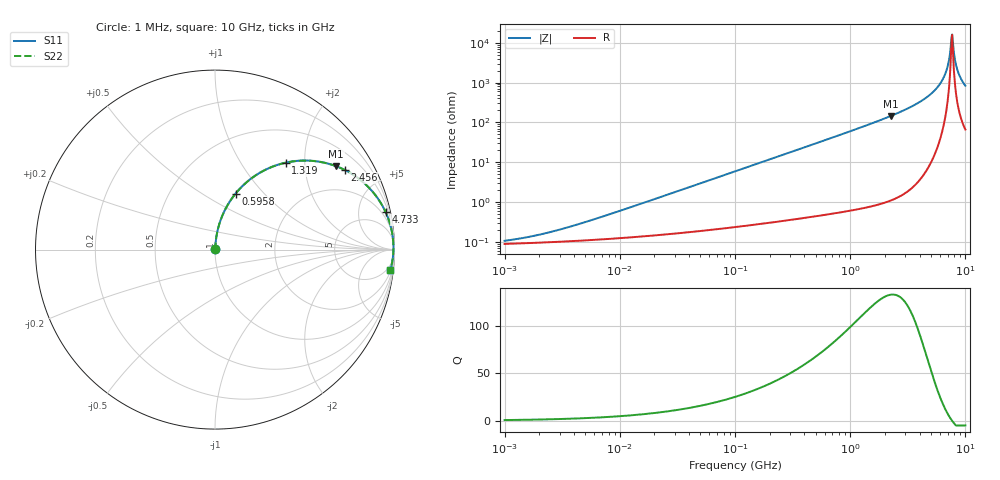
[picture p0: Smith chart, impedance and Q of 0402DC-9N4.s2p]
# MHz  S  MA  R  50
!Freq  MagS11  AngS11  MagS21  AngS21  MagS12  AngS12  MagS22  AngS22
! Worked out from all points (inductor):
!   801 points, 1 MHz to 10 GHz, reference 50 ohm
!   read as one part in series: L = 9.4 nH near 5.689 MHz
!   highest Q = 133 at 2.24 GHz (marker M1), where L = 10.3 nH
!   self-resonance near 7.589 GHz
!   S11 on the Smith chart (normalised r, x): 1 MHz: 1.00, +0.00; 595.8 MHz: 1.01, +0.71; 1.319 GHz: 1.01, +1.61; 2.456 GHz: 1.02, +3.23; 4.733 GHz: 1.14, +9.05; 10 GHz: 2, -17
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1  0.00107 33.4  0.9991 -0.0  0.9991 -0.0  0.00107 33.4
2.041806  0.001542 51.3  0.999 -0.1  0.999 -0.1  0.001542 51.3
4.67769  0.002964 68.4  0.9989 -0.2  0.9989 -0.2  0.002964 68.4
21.6303  0.01284 82.6  0.9984 -0.7  0.9984 -0.7  0.01284 82.6
100.0216  0.05889 84.3  0.9959 -3.4  0.9959 -3.4  0.05889 84.3
467.8699  0.2663 73.7  0.9598 -15.4  0.9598 -15.4  0.2663 73.7
595.8405  0.3324 69.8  0.9387 -19.4  0.9387 -19.4  0.3324 69.8
1318.701  0.6233 50.9  0.7765 -38.6  0.7765 -38.6  0.6233 50.9
2163.497  0.8086 35.6  0.5822 -54.0  0.5822 -54.0  0.8086 35.6
2239.53  0.8197 34.5  0.5666 -55.1  0.5666 -55.1  0.8197 34.5
2455.607  0.8476 31.6  0.5242 -58.0  0.5242 -58.0  0.8476 31.6
3549.493  0.9337 20.5  0.3496 -69.0  0.3496 -69.0  0.9337 20.5
4733.389  0.9732 12.4  0.215 -76.7  0.215 -76.7  0.9732 12.4
5690.835  0.9873 7.5  0.1314 -80.7  0.1314 -80.7  0.9873 7.5
6459.197  0.9925 4.3  0.07501 -82.1  0.07501 -82.1  0.9925 4.3
7001.324  0.994 2.2  0.03959 -80.2  0.03959 -80.2  0.994 2.2
7416.199  0.9942 0.8  0.01501 -66.9  0.01501 -66.9  0.9942 0.8
7676.832  0.994 -0.1  0.006144 12.1  0.006144 12.1  0.994 -0.1
7855.657  0.9937 -0.7  0.013 60.7  0.013 60.7  0.9937 -0.7
8321.156  0.9925 -2.1  0.03733 77.3  0.03733 77.3  0.9925 -2.1
8713.339  0.991 -3.3  0.05741 79.3  0.05741 79.3  0.991 -3.3
10000  0.9837 -6.8  0.118 78.7  0.118 78.7  0.9837 -6.8
